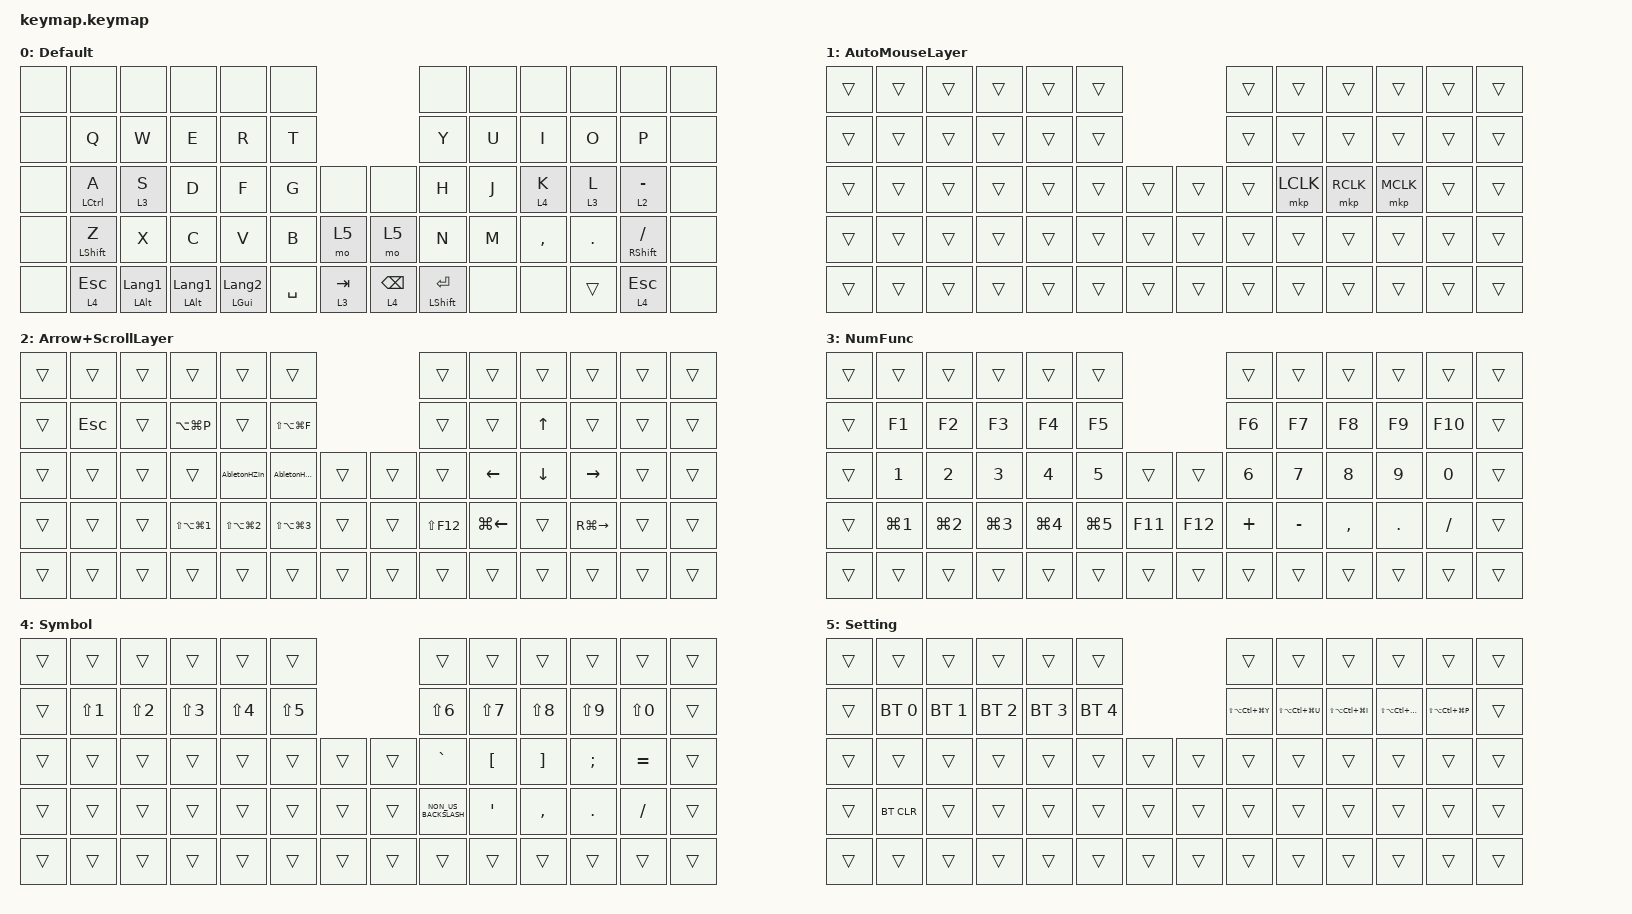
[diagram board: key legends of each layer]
#include <behaviors.dtsi>
#include <dt-bindings/zmk/bt.h>
#include <dt-bindings/zmk/keys.h>
#include <dt-bindings/zmk/pointing.h>

/ {
    combos {
        compatible = "zmk,combos";

        KeyNumCheck {
            bindings = <&none>;
            key-positions = <35 34 33>;
        };
    };

    behaviors {
        st: scroll_tap {
            compatible = "zmk,behavior-hold-tap";
            label = "Scroll / Tap";
            bindings = <&mo>, <&kp>;

            #binding-cells = <2>;
            tapping-term-ms = <200>;
            flavor = "balanced";
            hold-while-undecided;
        };

        hm: homerow-mods {
            compatible = "zmk,behavior-hold-tap";
            label = "homehow-mods";
            #binding-cells = <2>;
            tapping-term-ms = <175>;
            flavor = "tap-preferred";
            quick-tap-ms = <125>;
            global-quick-tap;
            bindings = <&kp>, <&kp>;
        };

        sandl: space_and_layer {
            compatible = "zmk,behavior-hold-tap";
            label = "SPACE_AND_LAYER";
            #binding-cells = <2>;
            flavor = "tap-unless-interrupted";
            tapping-term-ms = <200>;
            quick-tap-ms = <125>;
            global-quick-tap;
            bindings = <&mo>, <&kp>;
        };
    };

    macros {
        AbletonHZin: AbletonHeightZoomIn {
            compatible = "zmk,behavior-macro";
            #binding-cells = <0>;
            bindings = <&kp LS(LA(EQUAL)) &kp LS(LA(EQUAL)) &kp LS(LA(EQUAL)) &kp LS(LA(EQUAL)) &kp LS(LA(EQUAL))>;
            label = "ABLETONHEIGHTZOOMIN";
            tap-ms = <5>;
            wait-ms = <5>;
        };

        AbletonHZout: AbletonHeightZoomOut {
            compatible = "zmk,behavior-macro";
            #binding-cells = <0>;
            bindings = <&kp LA(MINUS) &kp LA(MINUS) &kp LA(MINUS) &kp LA(MINUS) &kp LA(MINUS)>;
            label = "ABLETONHEIGHTZOOMOUT";
            tap-ms = <5>;
            wait-ms = <5>;
        };
    };

    keymap {
        compatible = "zmk,keymap";

        Default {
            bindings = <
&none  &none             &none                    &none                    &none                    &none                                  &none                 &none  &none      &none       &none                  &none
&none  &kp Q             &kp W                    &kp E                    &kp R                    &kp T                                  &kp Y                 &kp U  &kp I      &kp O       &kp P                  &none
&none  &hm LCTRL A       &lt 3 S                  &kp D                    &kp F                    &kp G      &none      &none            &kp H                 &kp J  &lt 4 K    &lt 3 L     &st 2 MINUS            &none
&none  &hm LEFT_SHIFT Z  &kp X                    &kp C                    &kp V                    &kp B      &mo 5      &mo 5            &kp N                 &kp M  &kp COMMA  &kp PERIOD  &mt RIGHT_SHIFT SLASH  &none
&none  &lt 4 ESC         &mt LEFT_ALT LANGUAGE_1  &mt LEFT_ALT LANGUAGE_1  &mt LEFT_GUI LANGUAGE_2  &kp SPACE  &lt 3 TAB  &lt 4 BACKSPACE  &mt LEFT_SHIFT ENTER  &none  &none      &trans      &lt 4 ESC              &none
            >;
        };

        AutoMouseLayer {
            bindings = <
&trans  &trans  &trans  &trans  &trans  &trans                  &trans  &trans     &trans     &trans     &trans  &trans
&trans  &trans  &trans  &trans  &trans  &trans                  &trans  &trans     &trans     &trans     &trans  &trans
&trans  &trans  &trans  &trans  &trans  &trans  &trans  &trans  &trans  &mkp LCLK  &mkp RCLK  &mkp MCLK  &trans  &trans
&trans  &trans  &trans  &trans  &trans  &trans  &trans  &trans  &trans  &trans     &trans     &trans     &trans  &trans
&trans  &trans  &trans  &trans  &trans  &trans  &trans  &trans  &trans  &trans     &trans     &trans     &trans  &trans
            >;
        };

        Arrow+ScrollLayer {
            bindings = <
&trans  &trans      &trans  &trans                    &trans                    &trans                                    &trans       &trans              &trans          &trans         &trans  &trans
&trans  &kp ESCAPE  &trans  &kp LA(LG(P))             &trans                    &kp LS(LA(LG(F)))                         &trans       &trans              &kp UP_ARROW    &trans         &trans  &trans
&trans  &trans      &trans  &trans                    &AbletonHZin              &AbletonHZout             &trans  &trans  &trans       &kp LEFT_ARROW      &kp DOWN_ARROW  &kp RIGHT      &trans  &trans
&trans  &trans      &trans  &kp LS(LA(LG(NUMBER_1)))  &kp LS(LA(LG(NUMBER_2)))  &kp LS(LA(LG(NUMBER_3)))  &trans  &trans  &kp LS(F12)  &kp LG(LEFT_ARROW)  &trans          &kp RG(RIGHT)  &trans  &trans
&trans  &trans      &trans  &trans                    &trans                    &trans                    &trans  &trans  &trans       &trans              &trans          &trans         &trans  &trans
            >;
        };

        NumFunc {
            bindings = <
&trans  &trans            &trans            &trans            &trans            &trans                        &trans        &trans     &trans        &trans      &trans     &trans
&trans  &kp F1            &kp F2            &kp F3            &kp F4            &kp F5                        &kp F6        &kp F7     &kp F8        &kp F9      &kp F10    &trans
&trans  &kp NUMBER_1      &kp NUMBER_2      &kp NUMBER_3      &kp NUMBER_4      &kp N5      &trans   &trans   &kp NUMBER_6  &kp N7     &kp NUMBER_8  &kp N9      &kp N0     &trans
&trans  &kp LG(NUMBER_1)  &kp LG(NUMBER_2)  &kp LG(NUMBER_3)  &kp LG(NUMBER_4)  &kp LG(N5)  &kp F11  &kp F12  &kp PLUS      &kp MINUS  &kp COMMA     &kp PERIOD  &kp SLASH  &trans
&trans  &trans            &trans            &trans            &trans            &trans      &trans   &trans   &trans        &trans     &trans        &trans      &trans     &trans
            >;
        };

        Symbol {
            bindings = <
&trans  &trans            &trans            &trans            &trans            &trans                      &trans                &trans            &trans             &trans         &trans      &trans
&trans  &kp LS(NUMBER_1)  &kp LS(NUMBER_2)  &kp LS(NUMBER_3)  &kp LS(NUMBER_4)  &kp LS(N5)                  &kp LS(NUMBER_6)      &kp LS(N7)        &kp LS(N8)         &kp LS(N9)     &kp LS(N0)  &trans
&trans  &trans            &trans            &trans            &trans            &trans      &trans  &trans  &kp GRAVE             &kp LEFT_BRACKET  &kp RIGHT_BRACKET  &kp SEMICOLON  &kp EQUAL   &trans
&trans  &trans            &trans            &trans            &trans            &trans      &trans  &trans  &kp NON_US_BACKSLASH  &kp SQT           &kp COMMA          &kp PERIOD     &kp SLASH   &trans
&trans  &trans            &trans            &trans            &trans            &trans      &trans  &trans  &trans                &trans            &trans             &trans         &trans      &trans
            >;
        };

        Setting {
            bindings = <
&trans  &trans        &trans        &trans        &trans        &trans                        &trans                 &trans                 &trans                 &trans                 &trans                 &trans
&trans  &bt BT_SEL 0  &bt BT_SEL 1  &bt BT_SEL 2  &bt BT_SEL 3  &bt BT_SEL 4                  &kp LS(LA(LC(LG(Y))))  &kp LS(LA(LC(LG(U))))  &kp LS(LA(LC(LG(I))))  &kp LS(LA(LC(LG(O))))  &kp LS(LA(LC(LG(P))))  &trans
&trans  &trans        &trans        &trans        &trans        &trans        &trans  &trans  &trans                 &trans                 &trans                 &trans                 &trans                 &trans
&trans  &bt BT_CLR    &trans        &trans        &trans        &trans        &trans  &trans  &trans                 &trans                 &trans                 &trans                 &trans                 &trans
&trans  &trans        &trans        &trans        &trans        &trans        &trans  &trans  &trans                 &trans                 &trans                 &trans                 &trans                 &trans
            >;
        };
    };
};
